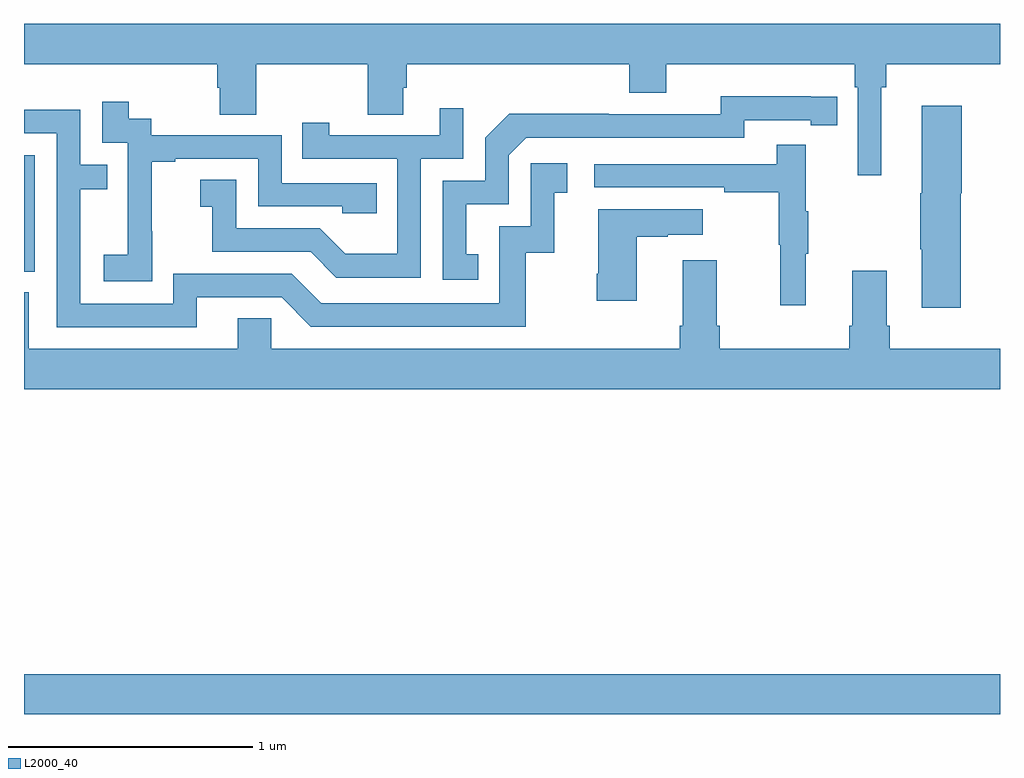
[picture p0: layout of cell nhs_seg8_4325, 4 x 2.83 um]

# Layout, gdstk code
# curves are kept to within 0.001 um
import gdstk
lib = gdstk.Library(unit=1e-6, precision=1e-09)
def R(c, l, rs):  # rectangles x0, y0, x1, y1
    for r in rs: c.add(gdstk.rectangle(r[:2], r[2:], *l))
def P(c, l, *ps):  # polygons
    for p in ps: c.add(gdstk.Polygon(p, *l))
L2000_40 = (2000, 40)

nhs_seg8_4325 = lib.new_cell('nhs_seg8_4325')
R(nhs_seg8_4325, L2000_40, [(375,1116.5,379,1116.664), (375,1118.313,375.045,1118.79)])
P(nhs_seg8_4325, L2000_40, [(378.514,1119.068),(378.533,1119.068),(378.533,1119.164),(379,1119.164),(379,1119.328),(375,1119.328),(375,1119.164),(375.791,1119.164),(375.791,1119.066),(375.803,1119.066),(375.803,1118.956),(375.951,1118.956),(375.951,1119.164),(376.408,1119.164),(376.408,1118.956),(376.555,1118.956),(376.555,1119.066),(376.568,1119.066),(376.568,1119.164),(377.48,1119.164),(377.48,1119.047),(377.632,1119.047),(377.632,1119.164),(378.404,1119.164),(378.404,1119.068),(378.417,1119.068),(378.417,1118.709),(378.514,1118.709)],
  [(376.862,1118.385),(376.813,1118.385),(376.813,1118.589),(376.986,1118.589),(376.986,1118.79),(377.058,1118.862),(377.952,1118.862),(377.952,1118.934),(378.224,1118.934),(378.224,1118.914),(378.332,1118.914),(378.332,1119.03),(377.856,1119.031),(377.856,1118.958),(377.396,1118.958),(377.396,1118.96),(376.988,1118.96),(376.89,1118.862),(376.89,1118.685),(376.716,1118.685),(376.716,1118.28),(376.862,1118.28)],
  [(375.525,1118.479),(375.524,1118.479),(375.524,1118.763),(375.619,1118.763),(375.619,1118.775),(375.96,1118.775),(375.96,1118.58),(376.305,1118.58),(376.305,1118.553),(376.445,1118.553),(376.445,1118.676),(376.056,1118.676),(376.056,1118.871),(375.522,1118.871),(375.522,1118.94),(375.43,1118.94),(375.43,1119.01),(375.321,1119.01),(375.321,1118.841),(375.426,1118.841),(375.426,1118.612),(375.425,1118.612),(375.425,1118.383),(375.327,1118.383),(375.327,1118.273),(375.525,1118.273)],
  [(378.839,1118.634),(378.844,1118.634),(378.844,1118.992),(378.68,1118.992),(378.68,1118.634),(378.673,1118.634),(378.673,1118.404),(378.68,1118.404),(378.68,1118.166),(378.839,1118.166)],
  [(376.626,1118.775),(376.8,1118.775),(376.8,1118.983),(376.703,1118.983),(376.703,1118.871),(376.252,1118.871),(376.252,1118.923),(376.141,1118.923),(376.141,1118.775),(376.53,1118.775),(376.53,1118.386),(376.316,1118.386),(376.212,1118.49),(375.87,1118.49),(375.87,1118.689),(375.723,1118.689),(375.723,1118.579),(375.772,1118.579),(375.772,1118.394),(376.175,1118.394),(376.28,1118.289),(376.626,1118.289)],
  [(375.709,1118.208),(376.056,1118.208),(376.176,1118.088),(377.056,1118.088),(377.056,1118.391),(377.174,1118.391),(377.174,1118.637),(377.227,1118.637),(377.227,1118.758),(377.076,1118.758),(377.076,1118.499),(376.947,1118.499),(376.947,1118.184),(376.218,1118.184),(376.098,1118.304),(375.612,1118.304),(375.612,1118.181),(375.231,1118.181),(375.231,1118.65),(375.341,1118.65),(375.341,1118.751),(375.231,1118.751),(375.231,1118.976),(375,1118.976),(375,1118.88),(375.135,1118.88),(375.135,1118.085),(375.709,1118.085)],
  [(378.203,1118.387),(378.214,1118.387),(378.214,1118.561),(378.203,1118.561),(378.203,1118.833),(378.085,1118.833),(378.085,1118.754),(377.337,1118.754),(377.337,1118.658),(377.869,1118.658),(377.869,1118.638),(378.093,1118.638),(378.093,1118.424),(378.1,1118.424),(378.1,1118.175),(378.203,1118.175)],
  [(377.512,1118.455),(377.639,1118.455),(377.639,1118.465),(377.782,1118.465),(377.782,1118.569),(377.354,1118.569),(377.354,1118.305),(377.347,1118.305),(377.347,1118.193),(377.512,1118.193)],
  [(379,1117.996),(378.548,1117.996),(378.548,1118.092),(378.535,1118.092),(378.535,1118.317),(378.395,1118.317),(378.395,1118.092),(378.383,1118.092),(378.383,1117.996),(377.852,1117.996),(377.852,1118.092),(377.839,1118.092),(377.839,1118.359),(377.699,1118.359),(377.699,1118.092),(377.687,1118.092),(377.687,1117.996),(376.014,1117.996),(376.014,1118.123),(375.875,1118.123),(375.875,1117.996),(375.019,1117.996),(375.019,1118.228),(375,1118.228),(375,1117.832),(379,1117.832)])

lib.write_gds('nhs_seg8_4325.gds')
